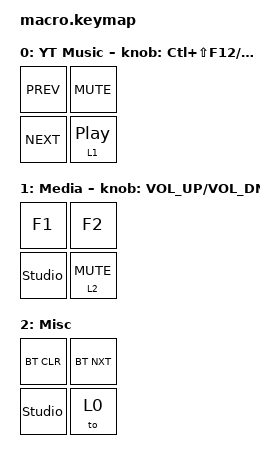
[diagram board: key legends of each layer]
#include <behaviors.dtsi>
#include <dt-bindings/zmk/keys.h>
#include <dt-bindings/zmk/bt.h>      // ADDED: Bluetooth profile controls
#include <dt-bindings/zmk/outputs.h> // ADDED: Physical connection toggle

/ {
    behaviors {
        encoder_btn: hold_tap_encoder {
            compatible = "zmk,behavior-hold-tap";
            #binding-cells = <2>;
            flavor = "hold-preferred";
            tapping-term-ms = <250>; 
            bindings = <&tog>, <&kp>;
        };
    };
    keymap {
        compatible = "zmk,keymap";
        volume_layer {
            display-name = "YT Music";
            bindings = <
                &kp C_PREV  &kp C_MUTE  &kp C_NEXT  &encoder_btn 1 C_PP
            >;
            sensor-bindings = <&inc_dec_kp LC(LS(F12)) LC(LS(F11))>;
        };

        media_layer {
            display-name = "Media";
            bindings = <
                &kp F1      &kp F2      &studio_unlock  &encoder_btn 2 C_MUTE
            >;
            sensor-bindings = <&inc_dec_kp C_VOL_UP C_VOL_DN>;
        }; 
                       
        misc_layer {
            display-name = "Misc";
            bindings = <
                &bt BT_CLR  &bt BT_NXT  &studio_unlock   &to 0
            >;
        
        };
        
        extra1 {
            status = "reserved";
        };

        extra2 {
            status = "reserved";
        };        



        
    };
};
